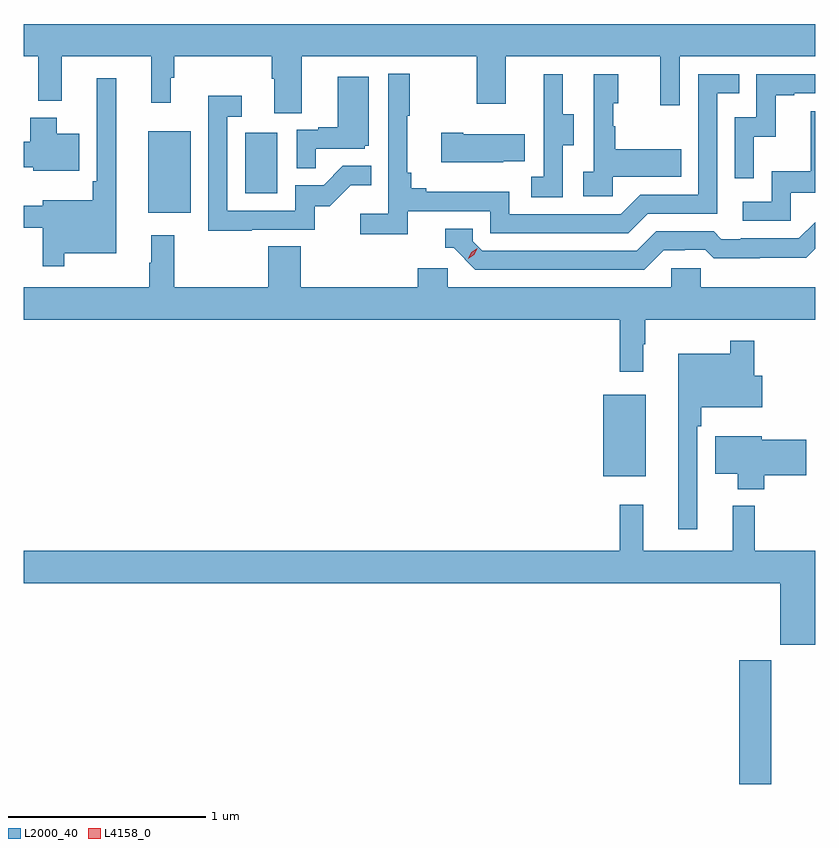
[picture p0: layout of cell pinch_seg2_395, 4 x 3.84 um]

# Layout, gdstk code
import gdstk
lib = gdstk.Library(unit=1e-6, precision=1e-09)
def R(c, l, rs):  # rectangles x0, y0, x1, y1
    for r in rs: c.add(gdstk.rectangle(r[:2], r[2:], *l))
def P(c, l, *ps):  # polygons
    for p in ps: c.add(gdstk.Polygon(p, *l))
L2000_40 = (2000, 40)
L4158_0 = (4158, 0)

pinch_seg2_395 = lib.new_cell('pinch_seg2_395')
R(pinch_seg2_395, L2000_40, [(967.685,615.986,967.845,616.612), (966.998,617.543,967.213,617.953), (964.697,618.875,964.912,619.285), (965.186,618.972,965.35,619.279)])
P(pinch_seg2_395, L2000_40, [(965.473,619.664),(966.358,619.664),(966.358,619.425),(966.505,619.425),(966.505,619.664),(967.286,619.664),(967.286,619.416),(967.383,619.416),(967.383,619.664),(968.068,619.664),(968.068,619.828),(964.068,619.828),(964.068,619.664),(964.141,619.664),(964.141,619.439),(964.259,619.439),(964.259,619.664),(964.712,619.664),(964.712,619.431),(964.811,619.431),(964.811,619.556),(964.829,619.556),(964.829,619.664),(965.321,619.664),(965.321,619.552),(965.333,619.552),(965.333,619.378),(965.473,619.378)],
  [(966.008,618.882),(966.426,618.882),(966.426,618.771),(967.123,618.771),(967.222,618.87),(967.572,618.87),(967.572,619.479),(967.685,619.479),(967.685,619.575),(967.476,619.575),(967.476,618.966),(967.185,618.966),(967.086,618.867),(966.522,618.867),(966.522,618.979),(966.103,618.979),(966.103,618.998),(966.026,618.998),(966.026,619.075),(966.007,619.075),(966.007,619.363),(966.019,619.363),(966.019,619.576),(965.91,619.576),(965.91,618.868),(965.769,618.868),(965.769,618.766),(966.008,618.766)],
  [(967.758,619.259),(967.868,619.259),(967.868,619.467),(967.963,619.467),(967.963,619.479),(968.068,619.479),(968.068,619.575),(967.77,619.575),(967.77,619.356),(967.662,619.356),(967.662,619.047),(967.758,619.047)],
  [(966.792,619.216),(966.847,619.216),(966.847,619.371),(966.793,619.371),(966.793,619.573),(966.695,619.573),(966.695,619.359),(966.696,619.359),(966.696,619.055),(966.633,619.055),(966.633,618.952),(966.792,618.952)],
  [(967.044,619.055),(967.391,619.055),(967.391,619.195),(967.057,619.195),(967.057,619.31),(967.047,619.31),(967.047,619.428),(967.072,619.428),(967.072,619.573),(966.948,619.573),(966.948,619.082),(966.897,619.082),(966.897,618.957),(967.044,618.957)],
  [(965.543,619.197),(965.79,619.197),(965.79,619.212),(965.812,619.212),(965.812,619.561),(965.654,619.561),(965.654,619.306),(965.555,619.306),(965.555,619.293),(965.448,619.293),(965.448,619.099),(965.543,619.099)],
  [(964.273,618.668),(964.534,618.668),(964.534,619.555),(964.437,619.555),(964.437,619.033),(964.417,619.033),(964.417,618.937),(964.163,618.937),(964.163,618.908),(964.068,618.908),(964.068,618.798),(964.164,618.798),(964.164,618.603),(964.273,618.603)],
  [(965.219,618.789),(965.538,618.789),(965.538,618.906),(965.614,618.906),(965.721,619.013),(965.825,619.013),(965.825,619.112),(965.681,619.112),(965.583,619.014),(965.439,619.014),(965.439,618.885),(965.097,618.885),(965.097,619.359),(965.17,619.359),(965.17,619.465),(965.001,619.465),(965.001,618.784),(965.219,618.784)],
  [(967.944,618.975),(968.068,618.975),(968.068,619.387),(968.047,619.387),(968.047,619.084),(967.848,619.084),(967.848,618.93),(967.701,618.93),(967.701,618.834),(967.944,618.834)],
  [(964.348,619.273),(964.234,619.273),(964.234,619.354),(964.1,619.354),(964.1,619.233),(964.068,619.233),(964.068,619.103),(964.116,619.103),(964.116,619.085),(964.348,619.085)],
  [(966.491,619.133),(966.599,619.133),(966.599,619.27),(966.289,619.27),(966.289,619.278),(966.177,619.278),(966.177,619.13),(966.491,619.13)],
  [(967.303,618.684),(967.41,618.684),(967.41,618.687),(967.513,618.687),(967.555,618.645),(967.788,618.645),(967.788,618.647),(968.024,618.647),(968.068,618.691),(968.068,618.826),(967.986,618.744),(967.693,618.744),(967.693,618.741),(967.594,618.741),(967.555,618.78),(967.266,618.78),(967.167,618.681),(966.384,618.681),(966.336,618.729),(966.336,618.792),(966.197,618.792),(966.197,618.696),(966.24,618.696),(966.351,618.585),(967.204,618.585)],
  [(967.198,618.209),(967.21,618.209),(967.21,618.332),(968.068,618.332),(968.068,618.496),(967.491,618.496),(967.491,618.594),(967.341,618.594),(967.341,618.496),(966.21,618.496),(966.21,618.594),(966.059,618.594),(966.059,618.496),(965.468,618.496),(965.468,618.704),(965.303,618.704),(965.303,618.496),(964.829,618.496),(964.829,618.76),(964.712,618.76),(964.712,618.62),(964.701,618.62),(964.701,618.496),(964.068,618.496),(964.068,618.332),(967.081,618.332),(967.081,618.069),(967.198,618.069)],
  [(967.473,617.795),(967.493,617.795),(967.493,617.891),(967.801,617.891),(967.801,618.049),(967.759,618.049),(967.759,618.226),(967.638,618.226),(967.638,618.16),(967.376,618.16),(967.376,617.274),(967.473,617.274)],
  [(967.811,617.548),(968.023,617.548),(968.023,617.726),(967.798,617.726),(967.798,617.743),(967.562,617.743),(967.562,617.555),(967.676,617.555),(967.676,617.477),(967.811,617.477)],
  [(968.068,617.164),(967.762,617.164),(967.762,617.392),(967.652,617.392),(967.652,617.164),(967.199,617.164),(967.199,617.398),(967.081,617.398),(967.081,617.164),(964.068,617.164),(964.068,617),(967.892,617),(967.892,616.691),(968.068,616.691)])
P(pinch_seg2_395, L4158_0, [(966.314,618.642),(966.314,618.642),(966.33,618.675),(966.361,618.694),(966.361,618.694),(966.361,618.694),(966.345,618.661),(966.314,618.642)])

lib.write_gds('pinch_seg2_395.gds')
